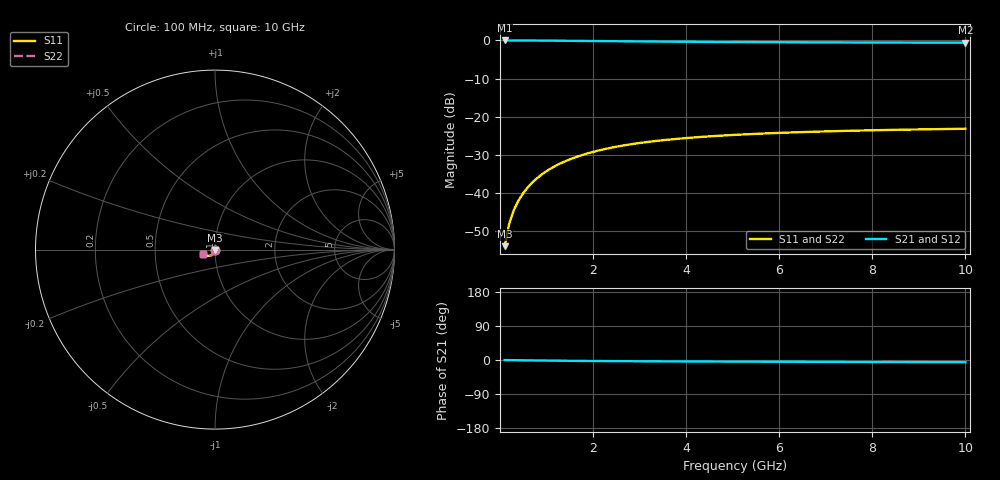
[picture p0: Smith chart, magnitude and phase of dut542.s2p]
! Touchstone file exported from HFSS 2024.1.0
!  File:  C:/UserFiles/LocalFiles/RDL_TSV_Batchsim/temp_TSV1_542_1779705478.aedt
!  Generated:  06:43:15 PM May 25, 2026
!  Design:  TSV1
!  Project:  temp_TSV1_542_1779705478
!  Setup:  Setup1
!  Solution:  Sweep
! Variables:
!  dtsv = 13.86um
!  hbump = 3um
!  htsv = 90.43um
!  lrdl = 252.1521522um
!  p = 40
!  p1 = 48.67um
!  t = 500um
!  trdl = 3um
!  wrdl = 24.89489489um
# GHz S MA R 50.000000
! Terminal data exported
! Port[1] = TSV22_T1
! Port[2] = TSV22_T2
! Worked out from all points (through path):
!   100 points, 100 MHz to 10 GHz, reference 50 ohm
!   highest |S21| = 0.00 dB at 100 MHz (marker M1); lowest = -0.6 dB at 10 GHz (marker M2)
!   lowest |S11| = -54.0 dB at 100 MHz (marker M3), VSWR 1.00, Z = 50 - j0.199 ohm
!   |S11| at or under -10 dB: start of sweep to end of sweep
!   |S22| runs from -54.0 to -23.2 dB; largest |S21 - S12| = 6.1e-15
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0.1  0.001989 -89.0  0.9998 -0.2  0.9998 -0.2  0.001989 -89.0
! Gamma 0 0 0 0
! Port Impedance 50 0 50 0
0.2  0.003976 -91.9  0.9997 -0.3  0.9997 -0.3  0.003976 -91.9
0.3  0.005962 -93.9  0.9993 -0.5  0.9993 -0.5  0.005962 -93.9
0.4  0.007936 -95.8  0.9989 -0.6  0.9989 -0.6  0.007936 -95.8
0.5  0.009893 -97.6  0.9984 -0.8  0.9984 -0.8  0.009893 -97.6
0.6  0.01182 -99.3  0.9978 -0.9  0.9978 -0.9  0.01182 -99.3
0.7  0.01372 -101.1  0.9971 -1.1  0.9971 -1.1  0.01372 -101.1
0.8  0.01559 -102.7  0.9963 -1.2  0.9963 -1.2  0.01559 -102.7
0.9  0.01742 -104.4  0.9954 -1.4  0.9954 -1.4  0.01742 -104.4
1.1  0.02094 -107.5  0.9935 -1.6  0.9935 -1.6  0.02094 -107.5
1.4  0.02588 -112.0  0.9902 -2.0  0.9902 -2.0  0.02588 -112.0
1.6  0.02892 -114.8  0.9878 -2.2  0.9878 -2.2  0.02892 -114.8
1.8  0.03177 -117.5  0.9854 -2.4  0.9854 -2.4  0.03177 -117.5
2.1  0.03566 -121.2  0.9817 -2.7  0.9817 -2.7  0.03566 -121.2
2.5  0.04022 -125.6  0.9769 -3.0  0.9769 -3.0  0.04022 -125.6
2.9  0.04412 -129.6  0.9723 -3.3  0.9723 -3.3  0.04412 -129.6
3.4  0.04823 -133.9  0.967 -3.6  0.967 -3.6  0.04823 -133.9
4.2  0.05342 -139.7  0.9599 -3.9  0.9599 -3.9  0.05342 -139.7
5.1  0.0578 -144.9  0.9534 -4.3  0.9534 -4.3  0.0578 -144.9
6.7  0.06317 -151.9  0.9449 -4.8  0.9449 -4.8  0.06317 -151.9
8.4  0.06687 -157.4  0.9388 -5.4  0.9388 -5.4  0.06687 -157.4
10  0.06924 -161.4  0.9347 -5.9  0.9347 -5.9  0.06924 -161.4
